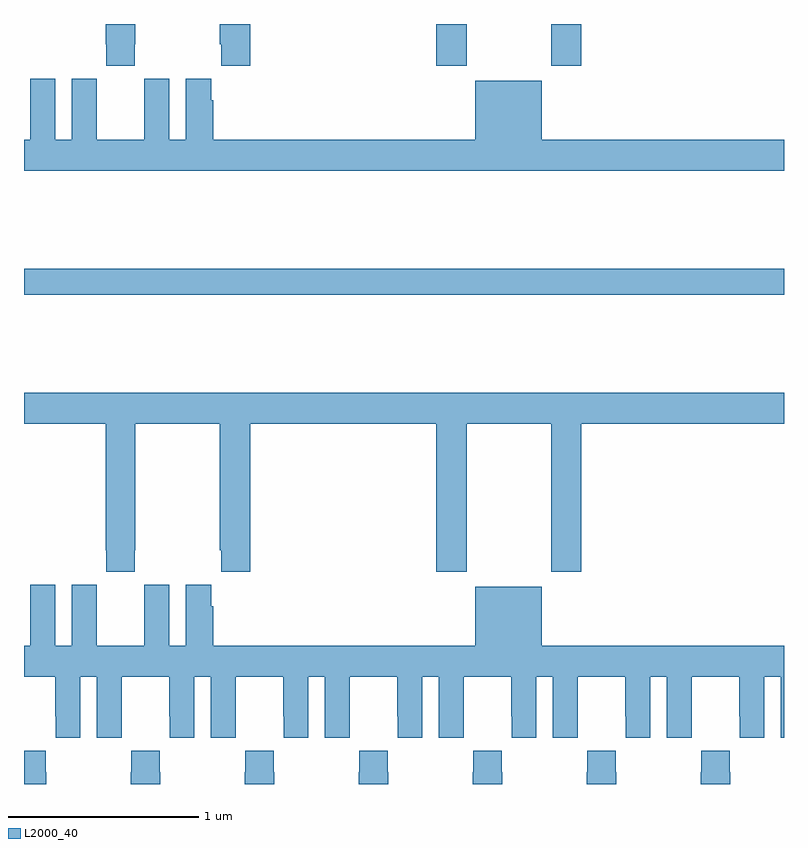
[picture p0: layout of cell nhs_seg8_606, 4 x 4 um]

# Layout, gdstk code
import gdstk
lib = gdstk.Library(unit=1e-6, precision=1e-09)
def R(c, l, rs):  # rectangles x0, y0, x1, y1
    for r in rs: c.add(gdstk.rectangle(r[:2], r[2:], *l))
def P(c, l, *ps):  # polygons
    for p in ps: c.add(gdstk.Polygon(p, *l))
L2000_40 = (2000, 40)

nhs_seg8_606 = lib.new_cell('nhs_seg8_606')
R(nhs_seg8_606, L2000_40, [(149,1154.476,153,1154.612), (151.169,1155.681,151.329,1155.9), (151.774,1155.681,151.934,1155.9)])
P(nhs_seg8_606, L2000_40, [(150.191,1155.9),(150.031,1155.9),(150.031,1155.793),(150.037,1155.793),(150.037,1155.681),(150.191,1155.681)],
  [(149.583,1155.793),(149.586,1155.793),(149.586,1155.9),(149.431,1155.9),(149.431,1155.793),(149.433,1155.793),(149.433,1155.681),(149.583,1155.681)],
  [(153,1155.292),(151.726,1155.292),(151.726,1155.601),(151.376,1155.601),(151.376,1155.292),(149.996,1155.292),(149.996,1155.5),(149.986,1155.5),(149.986,1155.613),(149.852,1155.613),(149.852,1155.292),(149.764,1155.292),(149.764,1155.613),(149.634,1155.613),(149.634,1155.5),(149.633,1155.5),(149.633,1155.292),(149.383,1155.292),(149.383,1155.5),(149.382,1155.5),(149.382,1155.613),(149.252,1155.613),(149.252,1155.292),(149.164,1155.292),(149.164,1155.613),(149.034,1155.613),(149.034,1155.5),(149.033,1155.5),(149.033,1155.292),(149,1155.292),(149,1155.128),(153,1155.128)],
  [(149.583,1153.129),(149.586,1153.129),(149.586,1153.796),(150.031,1153.796),(150.031,1153.129),(150.037,1153.129),(150.037,1153.017),(150.191,1153.017),(150.191,1153.796),(151.169,1153.796),(151.169,1153.017),(151.329,1153.017),(151.329,1153.796),(151.774,1153.796),(151.774,1153.017),(151.934,1153.017),(151.934,1153.796),(153,1153.796),(153,1153.96),(149,1153.96),(149,1153.796),(149.431,1153.796),(149.431,1153.129),(149.433,1153.129),(149.433,1153.017),(149.583,1153.017)],
  [(151.376,1152.628),(149.996,1152.628),(149.996,1152.836),(149.986,1152.836),(149.986,1152.949),(149.852,1152.949),(149.852,1152.628),(149.764,1152.628),(149.764,1152.949),(149.634,1152.949),(149.634,1152.836),(149.633,1152.836),(149.633,1152.628),(149.383,1152.628),(149.383,1152.836),(149.382,1152.836),(149.382,1152.949),(149.252,1152.949),(149.252,1152.628),(149.164,1152.628),(149.164,1152.949),(149.034,1152.949),(149.034,1152.836),(149.033,1152.836),(149.033,1152.628),(149,1152.628),(149,1152.464),(149.165,1152.464),(149.165,1152.256),(149.166,1152.256),(149.166,1152.144),(149.296,1152.144),(149.296,1152.464),(149.384,1152.464),(149.384,1152.144),(149.514,1152.144),(149.514,1152.256),(149.515,1152.256),(149.515,1152.464),(149.765,1152.464),(149.765,1152.256),(149.766,1152.256),(149.766,1152.144),(149.896,1152.144),(149.896,1152.464),(149.984,1152.464),(149.984,1152.144),(150.114,1152.144),(150.114,1152.256),(150.115,1152.256),(150.115,1152.464),(150.365,1152.464),(150.365,1152.256),(150.366,1152.256),(150.366,1152.144),(150.496,1152.144),(150.496,1152.464),(150.584,1152.464),(150.584,1152.144),(150.714,1152.144),(150.714,1152.256),(150.715,1152.256),(150.715,1152.464),(150.965,1152.464),(150.965,1152.256),(150.966,1152.256),(150.966,1152.144),(151.096,1152.144),(151.096,1152.464),(151.184,1152.464),(151.184,1152.144),(151.314,1152.144),(151.314,1152.256),(151.315,1152.256),(151.315,1152.464),(151.565,1152.464),(151.565,1152.256),(151.566,1152.256),(151.566,1152.144),(151.696,1152.144),(151.696,1152.464),(151.784,1152.464),(151.784,1152.144),(151.914,1152.144),(151.914,1152.256),(151.915,1152.256),(151.915,1152.464),(152.165,1152.464),(152.165,1152.256),(152.166,1152.256),(152.166,1152.144),(152.296,1152.144),(152.296,1152.464),(152.384,1152.464),(152.384,1152.144),(152.514,1152.144),(152.514,1152.256),(152.515,1152.256),(152.515,1152.464),(152.765,1152.464),(152.765,1152.256),(152.766,1152.256),(152.766,1152.144),(152.896,1152.144),(152.896,1152.464),(152.984,1152.464),(152.984,1152.144),(153,1152.144),(153,1152.628),(151.726,1152.628),(151.726,1152.937),(151.376,1152.937)],
  [(152.718,1151.963),(152.715,1151.963),(152.715,1152.076),(152.565,1152.076),(152.565,1151.963),(152.563,1151.963),(152.563,1151.9),(152.718,1151.9)],
  [(150.918,1151.963),(150.915,1151.963),(150.915,1152.076),(150.765,1152.076),(150.765,1151.963),(150.763,1151.963),(150.763,1151.9),(150.918,1151.9)],
  [(149.718,1151.963),(149.715,1151.963),(149.715,1152.076),(149.565,1152.076),(149.565,1151.963),(149.563,1151.963),(149.563,1151.9),(149.718,1151.9)],
  [(150.318,1151.963),(150.315,1151.963),(150.315,1152.076),(150.165,1152.076),(150.165,1151.963),(150.163,1151.963),(150.163,1151.9),(150.318,1151.9)],
  [(151.518,1151.963),(151.515,1151.963),(151.515,1152.076),(151.365,1152.076),(151.365,1151.963),(151.363,1151.963),(151.363,1151.9),(151.518,1151.9)],
  [(152.118,1151.963),(152.115,1151.963),(152.115,1152.076),(151.965,1152.076),(151.965,1151.963),(151.963,1151.963),(151.963,1151.9),(152.118,1151.9)],
  [(149.118,1151.963),(149.115,1151.963),(149.115,1152.076),(149,1152.076),(149,1151.9),(149.118,1151.9)])

lib.write_gds('nhs_seg8_606.gds')
